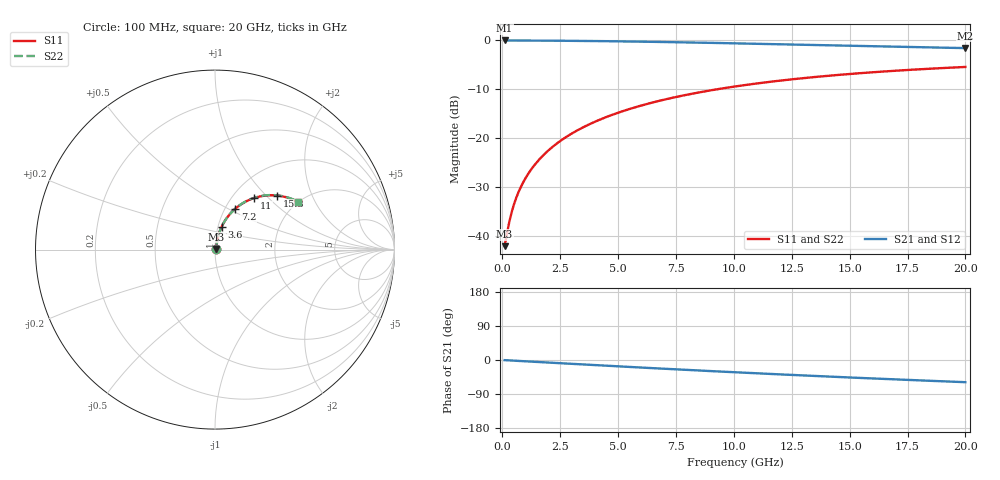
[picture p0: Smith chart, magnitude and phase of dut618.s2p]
! Touchstone file exported from HFSS 2026.1.0
!  File:  C:/ffzhzh/LocalFiles/Ansys_Project_Files/temp_train_TMRDL_618_1783008928_51716.aedt
!  Generated:  12:17:11 AM Jul  3, 2026
!  Design:  TMRDL
!  Project:  temp_train_TMRDL_618_1783008928_51716
! Variables:
!  h_bsmrdl = 2um
!  h_ox = 20um
!  h_rdl = 5um
!  h_sub = 80um
!  h_tmrdl = 2.78um
!  h_tsv = 80um
!  h_via = 3um
!  l_bsmrdl = 300um
!  l_sub = 1289.03um
!  l_tmrdl = 889.03um
!  m_sub = 200um
!  pitch = 44.57um
!  r_tsv = 6um
!  s_tmrdl = 10um
!  w_bsmrdl = 18um
!  w_sub = 500um
!  w_tmrdl = 16.62um
!  x_tsv_center1 = 897.34um
!  x_tsv_center2 = 1215.34um
!  x_tsv_center3 = 2120.99um
!  x_tsv_center4 = 2438.99um
!  x_tsv_center5 = 3344.64um
!  x_tsv_center6 = 3662.64um
# GHz S MA R 50.000000
! Terminal data exported
! Port[1] = TM_RDL1_1_T1
! Port[2] = TM_RDL1_1_T2
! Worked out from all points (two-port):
!   200 points, 100 MHz to 20 GHz, reference 50 ohm
!   highest |S21| = -0.06 dB at 100 MHz (marker M1); lowest = -1.6 dB at 20 GHz (marker M2)
!   |S21| within 3 dB of the highest: start of sweep to end of sweep
!   lowest |S11| = -42.0 dB at 100 MHz (marker M3), VSWR 1.02, Z = 50.7 + j0.407 ohm
!   |S11| at or under -10 dB: start of sweep to 9.284 GHz
!   |S22| runs from -42.0 to -5.5 dB; largest |S21 - S12| = 7.8e-14
!   S11 on the Smith chart (normalised r, x): 100 MHz: 1.01, +0.01; 3.6 GHz: 1.04, +0.27; 7.2 GHz: 1.12, +0.54; 11 GHz: 1.26, +0.83; 15.3 GHz: 1.52, +1.16; 20 GHz: 2.00, +1.48
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0.1  0.007969 30.2  0.9931 -0.4  0.9931 -0.4  0.007969 30.2
! Gamma 0 0 0 0
! Port Impedance 50 0 50 0
0.3  0.01399 58.0  0.9927 -1.1  0.9927 -1.1  0.01399 58.0
0.4  0.0175 63.6  0.9925 -1.4  0.9925 -1.4  0.0175 63.6
0.5  0.02108 67.2  0.9922 -1.7  0.9922 -1.7  0.02108 67.2
0.6  0.02469 69.6  0.992 -2.1  0.992 -2.1  0.02469 69.6
0.8  0.03191 72.6  0.9915 -2.8  0.9915 -2.8  0.03191 72.6
1.1  0.04279 75.0  0.9908 -3.8  0.9908 -3.8  0.04279 75.0
1.6  0.06101 76.4  0.9895 -5.5  0.9895 -5.5  0.06101 76.4
2.1  0.07926 76.4  0.988 -7.1  0.988 -7.1  0.07925 76.5
2.7  0.1011 75.7  0.9858 -9.1  0.9858 -9.1  0.1011 75.7
3.5  0.1298 74.0  0.9821 -11.8  0.9821 -11.8  0.1298 74.0
3.6  0.1334 73.7  0.9816 -12.1  0.9816 -12.1  0.1334 73.8
5  0.1822 70.0  0.973 -16.7  0.973 -16.7  0.1822 70.1
6.8  0.2417 64.8  0.9591 -22.5  0.9591 -22.5  0.2416 64.9
7.2  0.2543 63.6  0.9556 -23.7  0.9556 -23.7  0.2542 63.7
8.6  0.2966 59.5  0.9427 -28.1  0.9427 -28.1  0.2966 59.6
10.1  0.3387 55.2  0.9278 -32.5  0.9278 -32.5  0.3387 55.3
11  0.3623 52.6  0.9185 -35.1  0.9185 -35.1  0.3622 52.8
13.4  0.4192 46.1  0.8934 -41.9  0.8934 -41.9  0.4191 46.3
15.3  0.4581 41.1  0.8739 -46.9  0.8739 -46.9  0.458 41.4
16.7  0.4835 37.6  0.86 -50.5  0.86 -50.5  0.4834 37.9
20  0.5335 29.7  0.8303 -58.5  0.8303 -58.5  0.5333 30.0
